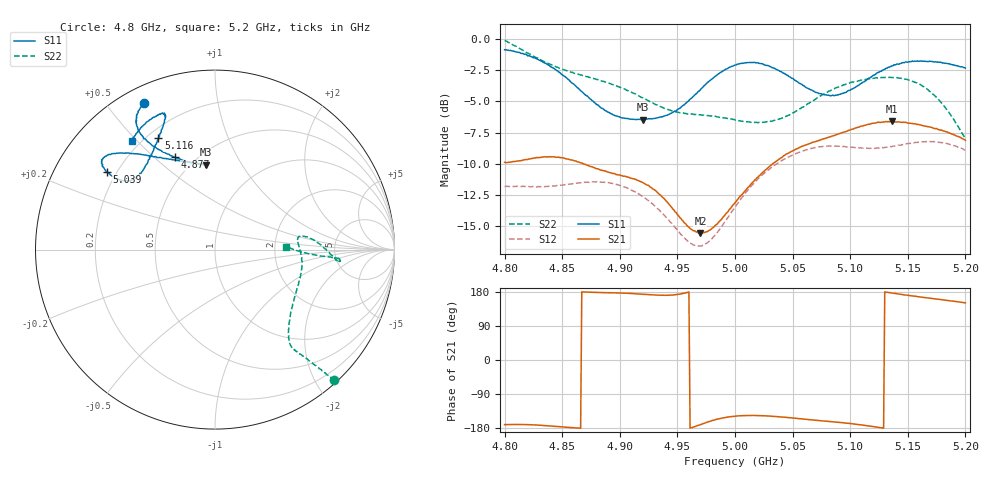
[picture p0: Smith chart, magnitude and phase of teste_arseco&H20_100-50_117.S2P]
! Network Analyzer HP8722D
! Hewlett-Packard
! Data name: Linha & Wilkinson
! Saver's name: Rodrigo Anjos
! Comments: Teste da utilização de aquisição
! continua pelo VNA HP8722D
! Time and date: 6/5/2025 13:32
!  Frequency  S11  S21  S12  S22
# HZ  S  MA R 50
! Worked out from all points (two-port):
!   401 points, 4.8 GHz to 5.2 GHz, reference 50 ohm
!   highest |S21| = -6.60 dB at 5.136 GHz (marker M1); lowest = -15.5 dB at 4.97 GHz (marker M2)
!   |S21| within 3 dB of the highest: 4.822 GHz to 4.854 GHz (31.22 MHz wide, 0.645 % of centre); 5.039 GHz to end of sweep
!   lowest |S11| = -6.5 dB at 4.92 GHz (marker M3), VSWR 2.81, Z = 29.2 + j35.7 ohm
!   |S11| at or under -10 dB: nowhere
!   |S22| runs from -8.0 to -0.1 dB; largest |S21 - S12| = 0.83
!   S11 on the Smith chart (normalised r, x): 4.8 GHz: 0.07, +0.62; 4.877 GHz: 0.39, +0.58; 5.039 GHz: 0.16, +0.32; 5.116 GHz: 0.24, +0.59; 5.2 GHz: 0.17, +0.48
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4.8e9  0.9051 115.8  0.3206 -170.5  0.257 -86.2  0.9856 -47.5
4.834e9  0.8035 122.4  0.3371 -172.7  0.2563 -77.0  0.8123 -49.7
4.849e9  0.7251 122.2  0.3348 -176.2  0.2599 -71.9  0.7591 -50.6
4.867e9  0.6154 117.9  0.3189 179.8  0.2654 -67.4  0.716 -51.6
4.877e9  0.5619 113.5  0.3059 178.5  0.2682 -66.3  0.6948 -51.9
4.901e9  0.484 100.9  0.284 176.7  0.2584 -66.7  0.6377 -49.9
4.92e9  0.4754 95.9  0.2659 173.3  0.2344 -68.9  0.5812 -44.6
4.934e9  0.4848 98.9  0.2394 171.1  0.2075 -69.5  0.5384 -37.5
4.948e9  0.5146 107.7  0.2033 172.0  0.1757 -66.6  0.5118 -28.4
4.97e9  0.6263 124.0  0.167 -170.5  0.1483 -46.7  0.4965 -14.4
4.983e9  0.7085 131.0  0.1795 -157.4  0.1645 -32.2  0.4905 -7.8
5e9  0.7859 137.3  0.2206 -148.5  0.2123 -21.5  0.4734 -0.3
5.019e9  0.8022 141.8  0.2777 -146.6  0.272 -18.3  0.4627 5.9
5.039e9  0.7415 144.2  0.3321 -150.0  0.3221 -18.4  0.4788 8.8
5.067e9  0.6229 142.0  0.3852 -158.0  0.3652 -20.6  0.5628 4.6
5.088e9  0.5952 132.9  0.4139 -163.9  0.3721 -23.7  0.6377 -1.7
5.116e9  0.6955 117.0  0.4554 -174.2  0.3643 -26.9  0.6911 -5.3
5.134e9  0.7697 111.4  0.4652 178.0  0.3696 -28.7  0.701 -4.8
5.136e9  0.779 110.9  0.4675 176.9  0.3702 -29.1  0.7 -4.7
5.15e9  0.8066 110.6  0.4604 170.5  0.3808 -31.9  0.6864 -4.0
5.165e9  0.812 113.6  0.4473 164.6  0.3879 -36.3  0.6377 -3.7
5.2e9  0.7645 127.4  0.3928 150.7  0.359 -46.3  0.3971 2.4
